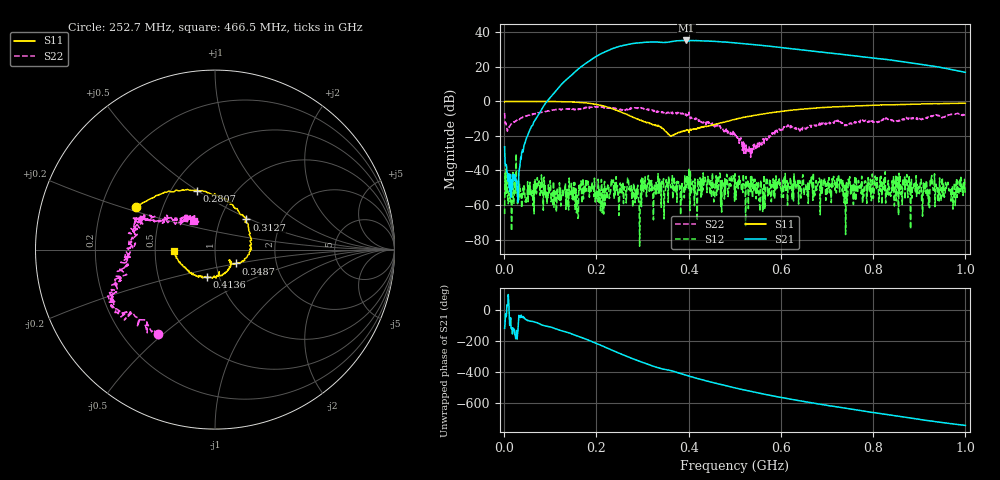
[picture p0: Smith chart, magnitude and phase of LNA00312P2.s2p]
! Created with skrf 1.9.0 (http://scikit-rf.org).
# Hz S RI R 50.0
!freq ReS11 ImS11 ReS21 ImS21 ReS12 ImS12 ReS22 ImS22
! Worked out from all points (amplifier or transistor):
!   1001 points, 1 MHz to 1 GHz, reference 50 ohm
!   highest |S21| = 35.3 dB at 394.6 MHz (marker M1)
!   |S21| within 3 dB of that: 256.4 MHz to 562.9 MHz (306.5 MHz wide, 74.8 % of centre)
!   unconditionally stable (mu >= 1): start of sweep to 78.69 MHz; 305.7 MHz to 400.5 MHz; 400.8 MHz to end of sweep (the widest 3 of 32)
!   at 166.8 MHz: K = 1.11, MAG = 31.0 dB, |S12| = -46.0 dB
!   at 500.5 MHz: K = 1.34, MAG = 34.5 dB, |S12| = -41.9 dB
!   at 1 GHz: K = 5.99, MAG = 24.8 dB, |S12| = -54.3 dB
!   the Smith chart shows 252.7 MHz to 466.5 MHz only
!   S11 on the Smith chart (normalised r, x): 252.7 MHz: 0.35, +0.22; 280.7 MHz: 0.67, +0.50; 312.7 MHz: 1.33, +0.47; 348.7 MHz: 1.25, -0.20; 413.6 MHz: 0.88, -0.28; 466.5 MHz: 0.63, -0.01
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1000000  0.9746 0.00847  -0.0226 -0.043  0.000547 2.29e-05  0.3335 0.3212
1.08892e8  0.5154 -0.8474  -0.8129 -1.591  -2.83e-06 -0.00267  0.4402 -0.3543
1.67833e8  -0.2364 -0.897  -10.33 -0.6475  -0.00214 0.000666  0.0757 -0.6229
2.12788e8  -0.6776 -0.3313  -15.68 19.54  -0.000558 0.000203  -0.1684 -0.6622
2.32768e8  -0.6238 0.00223  -7.153 32.28  0.0052 0.00238  -0.2017 -0.5957
2.52748e8  -0.4375 0.2383  8.772 39.36  -0.00336 0.000104  -0.3165 -0.4715
2.8072e8  -0.1011 0.3285  34.58 33.1  -0.00422 -0.000486  -0.5346 -0.3408
3.12688e8  0.1754 0.168  51.57 7.284  0.00139 0.007  -0.5229 -0.171
3.34666e8  0.1956 -0.00886  50.73 -12.07  -0.00325 0.00168  -0.5006 -0.0572
3.48652e8  0.1187 -0.077  46.78 -20.37  -0.00218 0.00107  -0.4632 0.0079
3.7063e8  0.0885 -0.0686  43.91 -35.38  -0.000587 0.00268  -0.4349 0.1403
3.94606e8  0.0427 -0.1377  28.04 -51.21  0.00193 0.00259  -0.3859 0.1629
4.13587e8  -0.0433 -0.1548  12.26 -56.45  0.00494 0.00288  -0.2625 0.1502
4.39561e8  -0.1505 -0.1186  -8.491 -55.64  -0.00063 0.00221  -0.1401 0.1791
4.66534e8  -0.2305 -0.0102  -26.3 -46.65  0.00644 0.0026  -0.1143 0.1599
5.005e8  -0.2511 0.1658  -40.03 -29.72  0.00567 -0.00571  -0.0811 0.066
5.39461e8  -0.1714 0.3492  -43.64 -8.482  0.00548 0.00108  -0.0506 -0.00829
5.84416e8  0.016 0.4806  -37.17 10.68  0.00041 -0.00162  -0.0975 -0.0655
6.67333e8  0.4008 0.4876  -14.17 24.88  0.0027 -0.00196  -0.1822 -0.0645
7.53247e8  0.6763 0.2793  4.11 21  0.000416 -0.0023  -0.2278 -0.014
8.34166e8  0.7953 0.0192  11.88 10.79  -0.0015 -0.00121  -0.3066 -0.0635
1e9  0.7326 -0.5081  6.236 -3.114  -0.00185 -0.00053  -0.4092 0.0973
